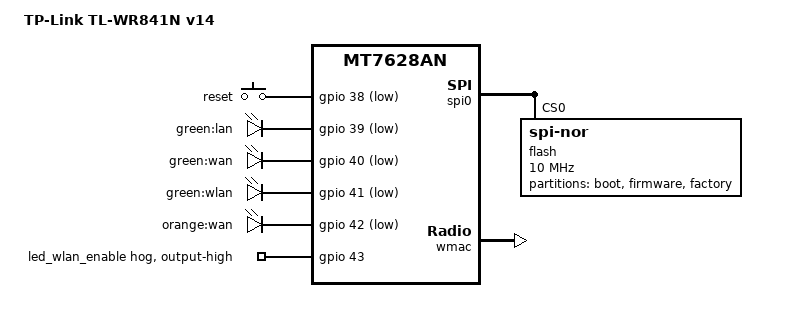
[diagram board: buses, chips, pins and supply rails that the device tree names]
// SPDX-License-Identifier: GPL-2.0-or-later OR MIT

#include "mt7628an.dtsi"

#include <dt-bindings/gpio/gpio.h>
#include <dt-bindings/input/input.h>

/ {
	compatible = "tplink,tl-wr841n-v14", "mediatek,mt7628an-soc";
	model = "TP-Link TL-WR841N v14";

	aliases {
		led-boot = &led_wlan;
		led-failsafe = &led_wlan;
		led-upgrade = &led_wlan;
	};

	chosen {
		bootargs = "console=ttyS0,115200";
	};

	keys {
		compatible = "gpio-keys";

		reset {
			label = "reset";
			gpios = <&gpio 38 GPIO_ACTIVE_LOW>;
			linux,code = <KEY_RESTART>;
		};
	};

	leds {
		compatible = "gpio-leds";

		lan {
			label = "green:lan";
			gpios = <&gpio 39 GPIO_ACTIVE_LOW>;
		};

		wan_green {
			label = "green:wan";
			gpios = <&gpio 40 GPIO_ACTIVE_LOW>;
		};

		led_wlan: wlan {
			label = "green:wlan";
			gpios = <&gpio 41 GPIO_ACTIVE_LOW>;
			linux,default-trigger = "phy0tpt";
		};

		wan_orange {
			label = "orange:wan";
			gpios = <&gpio 42 GPIO_ACTIVE_LOW>;
		};
	};
};

&spi0 {
	status = "okay";

	flash@0 {
		compatible = "jedec,spi-nor";
		reg = <0>;
		spi-max-frequency = <10000000>;

		partitions {
			compatible = "fixed-partitions";
			#address-cells = <1>;
			#size-cells = <1>;

			partition@0 {
				label = "boot";
				reg = <0x0 0x10000>;
				read-only;
			};

			partition@10000 {
				compatible = "tplink,firmware";
				label = "firmware";
				reg = <0x10000 0x3e0000>;
			};

			factory: partition@3f0000 {
				label = "factory";
				reg = <0x3f0000 0x10000>;
				read-only;
			};
		};
	};
};

&ehci {
	status = "disabled";
};

&ohci {
	status = "disabled";
};

&wmac {
	status = "okay";

	mediatek,mtd-eeprom = <&factory 0x0>;

	nvmem-cells = <&macaddr_factory_f100>;
	nvmem-cell-names = "mac-address";
};

&ethernet {
	nvmem-cells = <&macaddr_factory_f100>;
	nvmem-cell-names = "mac-address";
};

&esw {
	mediatek,portmap = <0x3e>;
};

&state_default {
	gpio {
		groups = "p4led_an", "p3led_an", "p2led_an", "p1led_an", "p0led_an", "wdt";
		function = "gpio";
	};
};

&gpio {
	led_wlan_enable {
		gpio-hog;
		gpios = <43 GPIO_ACTIVE_HIGH>;
		output-high;
	};
};

&factory {
	compatible = "nvmem-cells";
	#address-cells = <1>;
	#size-cells = <1>;

	macaddr_factory_f100: macaddr@f100 {
		reg = <0xf100 0x6>;
	};
};
